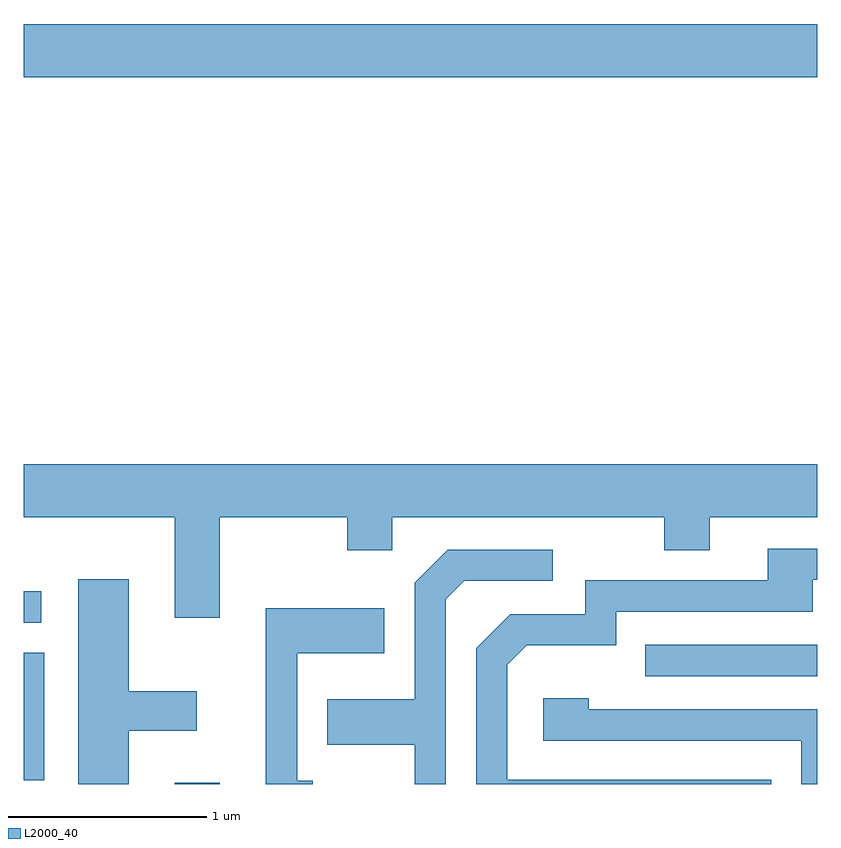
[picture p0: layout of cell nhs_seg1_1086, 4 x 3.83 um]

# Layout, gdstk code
import gdstk
lib = gdstk.Library(unit=1e-6, precision=1e-09)
def R(c, l, rs):  # rectangles x0, y0, x1, y1
    for r in rs: c.add(gdstk.rectangle(r[:2], r[2:], *l))
def P(c, l, *ps):  # polygons
    for p in ps: c.add(gdstk.Polygon(p, *l))
L2000_40 = (2000, 40)

nhs_seg1_1086 = lib.new_cell('nhs_seg1_1086')
R(nhs_seg1_1086, L2000_40, [(218.371,973.712,218.599,973.719), (217.611,973.731,217.714,974.374), (220.743,974.256,221.611,974.414), (217.611,974.526,217.698,974.684), (217.611,977.276,221.611,977.544)])
P(nhs_seg1_1086, L2000_40, [(218.599,975.056),(219.241,975.056),(219.241,974.891),(219.469,974.891),(219.469,975.056),(220.841,975.056),(220.841,974.891),(221.069,974.891),(221.069,975.056),(221.611,975.056),(221.611,975.324),(217.611,975.324),(217.611,975.056),(218.371,975.056),(218.371,974.551),(218.599,974.551)],
  [(221.379,973.734),(220.049,973.734),(220.049,974.314),(220.147,974.411),(220.599,974.411),(220.599,974.581),(221.589,974.581),(221.589,974.741),(221.611,974.741),(221.611,974.899),(221.361,974.899),(221.361,974.739),(220.441,974.739),(220.441,974.569),(220.064,974.569),(219.891,974.397),(219.891,973.712),(221.379,973.712)],
  [(219.739,974.644),(219.832,974.736),(220.278,974.736),(220.278,974.894),(219.749,974.894),(219.581,974.727),(219.581,974.139),(219.141,974.139),(219.141,973.911),(219.581,973.911),(219.581,973.712),(219.739,973.712)],
  [(218.139,973.981),(218.484,973.981),(218.484,974.179),(218.139,974.179),(218.139,974.744),(217.886,974.744),(217.886,973.712),(218.139,973.712)],
  [(219.068,973.729),(218.989,973.729),(218.989,974.371),(219.429,974.371),(219.429,974.599),(218.831,974.599),(218.831,973.712),(219.068,973.712)],
  [(221.611,974.089),(220.459,974.089),(220.459,974.144),(220.231,974.144),(220.231,973.931),(221.531,973.931),(221.531,973.712),(221.611,973.712)])

lib.write_gds('nhs_seg1_1086.gds')
